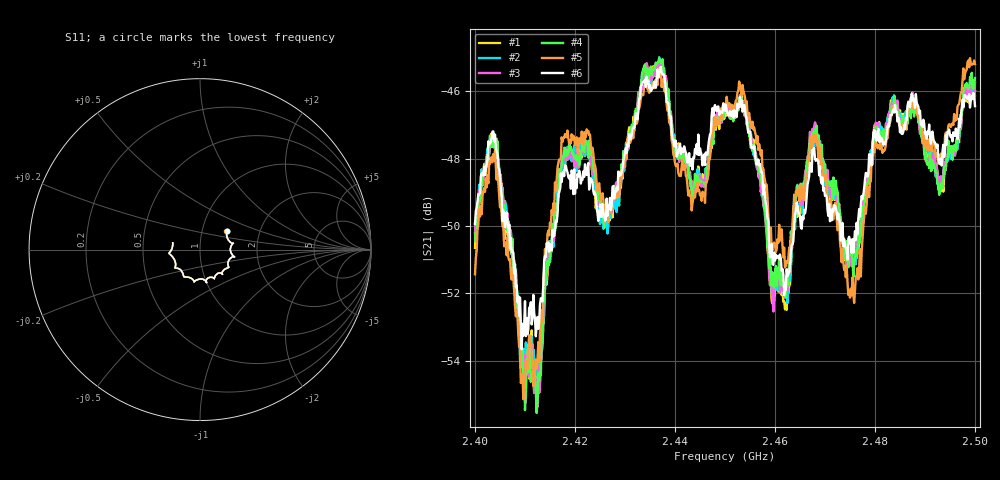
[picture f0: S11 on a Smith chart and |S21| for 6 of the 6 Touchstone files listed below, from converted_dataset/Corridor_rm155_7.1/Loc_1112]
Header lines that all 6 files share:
# Hz S RI R 50
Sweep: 2.4 GHz to 2.5 GHz
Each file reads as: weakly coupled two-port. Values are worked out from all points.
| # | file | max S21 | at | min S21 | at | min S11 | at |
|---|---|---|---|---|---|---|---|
| 1 | Lab_139_1Ch1.s2p | -45.09 dB | 2.4368 GHz | -55.1 dB | 2.4125 GHz | -15.9 dB | 2.4897 GHz |
| 2 | Lab_139_2Ch1.s2p | -44.99 dB | 2.4368 GHz | -54.4 dB | 2.4123 GHz | -15.9 dB | 2.4897 GHz |
| 3 | Lab_139_4Ch1.s2p | -45.14 dB | 2.4373 GHz | -55.4 dB | 2.4125 GHz | -15.9 dB | 2.4895 GHz |
| 4 | Lab_139_5Ch1.s2p | -45.03 dB | 2.4368 GHz | -55.6 dB | 2.4123 GHz | -15.9 dB | 2.4895 GHz |
| 5 | Lab_139_6Ch1.s2p | -45.02 dB | 2.499 GHz | -55.1 dB | 2.4097 GHz | -15.9 dB | 2.4897 GHz |
| 6 | Lab_139_10Ch1.s2p | -45.28 dB | 2.4372 GHz | -53.7 dB | 2.4093 GHz | -15.9 dB | 2.4897 GHz |
